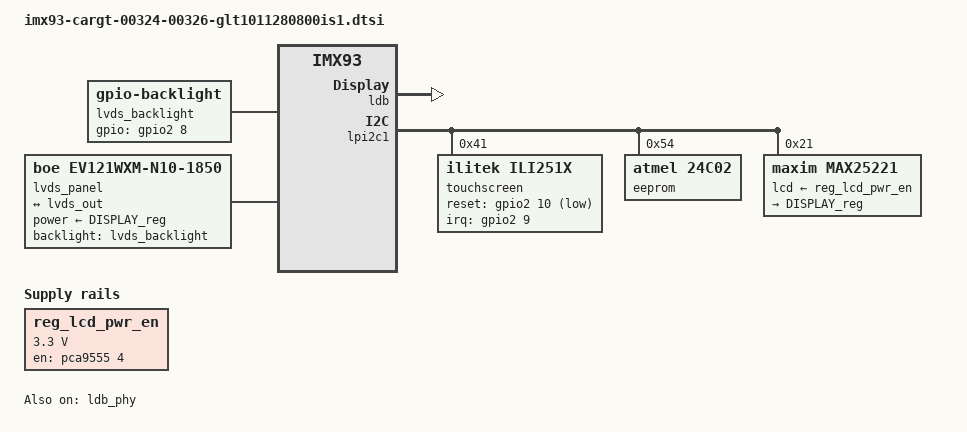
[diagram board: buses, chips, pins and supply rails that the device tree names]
/ {

	lvds_backlight: lvds_backlight {
		compatible = "gpio-backlight";
		pinctrl-names = "default";
		pinctrl-0 = <&pinctrl_backlight_lvds>;
		gpios = <&gpio2 8 GPIO_ACTIVE_HIGH>;
		default-on;
		status = "okay";
	};

	lvds_panel {
		compatible = "boe,ev121wxm-n10-1850";
		backlight = <&lvds_backlight>;		
		power-supply = <&DISPLAY_reg>;

		port {
			panel_lvds_in: endpoint {
				remote-endpoint = <&lvds_out>;
			};
		};
	};

	reg_lcd_pwr_en: regulator_lcd_pwr_en {
		compatible = "regulator-fixed";
		regulator-name = "lcd-pwr-en";
		regulator-min-microvolt = <3300000>;
		regulator-max-microvolt = <3300000>;
		gpio = <&pca9555 4 GPIO_ACTIVE_HIGH>;
		enable-active-high;
		regulator-always-on;
	};
	
};

&dphy {
	status = "disabled";
};

&dsi {
	status = "disabled";
};

&lcdif {
	assigned-clock-rates = <498000000>, <71142857>, <400000000>, <133333333>;
};

&ldb {
	status = "okay";

	lvds-channel@0 {
		status = "okay";

		port@1 {
			reg = <1>;

			lvds_out: endpoint {
				remote-endpoint = <&panel_lvds_in>;
			};
		};
	};
};

&ldb_phy {
	status = "okay";
};

&lpi2c1 {
	touchscreen@41 {
		compatible = "ilitek,ili251x";
		reg = <0x41>;
		pinctrl-names = "default";
		pinctrl-0 =<&pinctrl_cap_touch>;
		interrupt-parent = <&gpio2>;
		interrupts = <9 IRQ_TYPE_EDGE_FALLING>;
		reset-gpios = <&gpio2 10 GPIO_ACTIVE_LOW>;
		// touchscreen-size-x = <1280>;
		// touchscreen-size-y = <800>;
	};
};

&lpi2c1 {

	/* eeprom on display */
	eeprom@50 {
		compatible = "atmel,24c02";
		reg = <0x54>;
		pagesize = <16>;		
	};

	max25221: max25221@21 {
		compatible = "maxim,max25221";
		reg = <0x21>;
		lcd-supply = <&reg_lcd_pwr_en>;
		status = "okay";

		regulators {
			DISPLAY_reg: DISPLAY {
				regulator-name = "DISPLAY";
			};
		};
	};

};



&iomuxc {

	pinctrl_backlight_lvds: backlight-lvds1grp {
		fsl,pins = <
			MX93_PAD_GPIO_IO08__GPIO2_IO08		0x31e
		>;
	};

	pinctrl_cap_touch: cap_touch {
		fsl,pins = <			    
			MX93_PAD_GPIO_IO09__GPIO2_IO09 		0x31e	/* nINT */
			MX93_PAD_GPIO_IO10__GPIO2_IO10 		0x31e	/* nRST */
			MX93_PAD_GPIO_IO11__GPIO2_IO11 		0x31e	/* WAKE */					 	
		>;
	};


};

